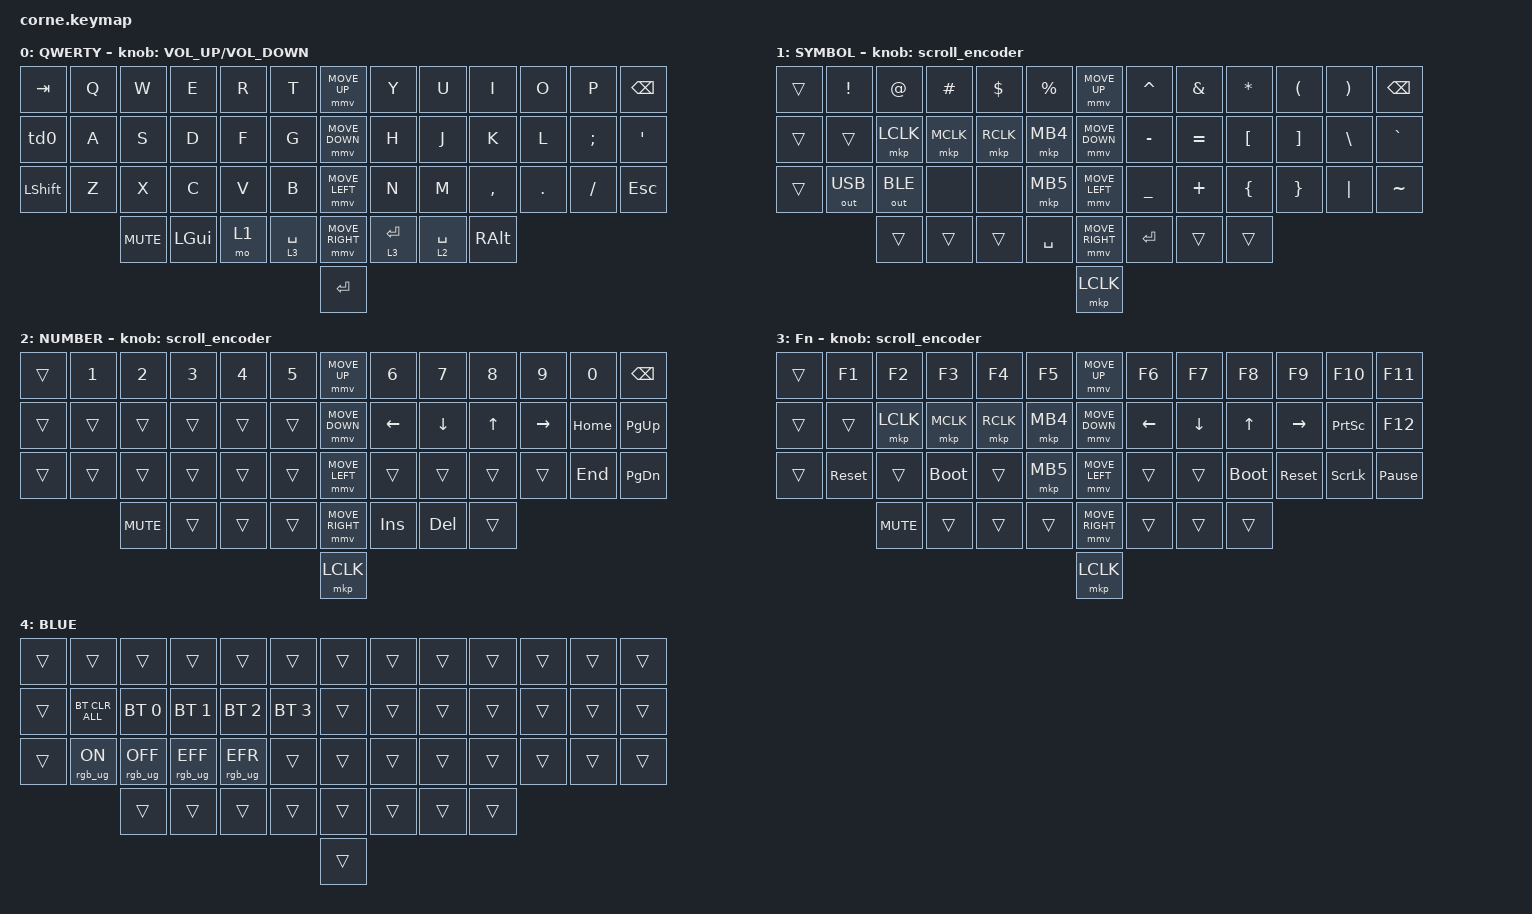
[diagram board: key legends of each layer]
#include <behaviors/mouse_keys.dtsi>
#include <behaviors.dtsi>
#include <dt-bindings/zmk/bt.h>
#include <dt-bindings/zmk/keys.h>
#include <dt-bindings/zmk/mouse.h>
#include <dt-bindings/zmk/outputs.h>
#include <dt-bindings/zmk/rgb.h>

#define ZMK_MOUSE_DEFAULT_MOVE_VAL 1200  // 600
#define ZMK_MOUSE_DEFAULT_SCRL_VAL 20    // 10
#define U_MS_U &mmv MOVE_UP
#define U_MS_D &mmv MOVE_DOWN
#define U_MS_L &mmv MOVE_LEFT
#define U_MS_R &mmv MOVE_RIGHT

/ {
    behaviors {
        td0: td0 {
            compatible = "zmk,behavior-tap-dance";
            label = "TD0";
            #binding-cells = <0>;
            bindings = <&kp LCTRL>, <&kp CAPS>;
        };

        mmv {
            acceleration-exponent = <1>;      // 1
            time-to-max-speed-ms = <900>;    // 40
            delay-ms = <0>;                   // 0
        };

        msc {
            acceleration-exponent = <1>;      // 0
            time-to-max-speed-ms = <400>;      // 500
            delay-ms = <0>;                   // 10
        };
    };

    rgb_encoder: rgb_encoder {
        compatible = "zmk,behavior-sensor-rotate";
        label = "RGB_ENCODER";
        #sensor-binding-cells = <0>;
        bindings = <&rgb_ug RGB_BRI>, <&rgb_ug RGB_BRD>;
    };

    scroll_encoder: scroll_encoder {
        compatible = "zmk,behavior-sensor-rotate";
        #sensor-binding-cells = <0>;
        bindings = <&msc SCRL_DOWN>, <&msc SCRL_UP>;

        tap-ms = <30>;
    };

    combos {
        compatible = "zmk,combos";

        BLUE {
            bindings = <&mo 4>;
            key-positions = <42 44>;
        };
    };

    keymap {
        compatible = "zmk,keymap";

        default_layer {
            display-name = "QWERTY";

            // --------------------------------------------------------------------------------
            // |  TAB |  Q  |  W  |  E  |  R  |  T  |                ↑    |  Y  |  U   |  I  |  O  |  P  | BKSP |      &kp UP_ARROW 
            // | SHIFT |  A  |  S  |  D  |  F  |  G  |               ↓    |  H  |  J   |  K  |  L  |  ;  |  '   | 
            // | CTRL |  Z  |  X  |  C  |  V  |  B  |                ←    |  N  |  M   |  ,  |  .  |  /  | ESC  |
            //                    | GUI | LWR | SPC |                →    | ENT | RSE  | ALT |
            //                                                      enter

            bindings = <
&kp TAB         &kp Q  &kp W       &kp E     &kp R  &kp T          &mmv MOVE_UP     &kp Y        &kp U        &kp I      &kp O    &kp P     &kp BSPC
&td0            &kp A  &kp S       &kp D     &kp F  &kp G          &mmv MOVE_DOWN   &kp H        &kp J        &kp K      &kp L    &kp SEMI  &kp SQT
&kp LEFT_SHIFT  &kp Z  &kp X       &kp C     &kp V  &kp B          &mmv MOVE_LEFT   &kp N        &kp M        &kp COMMA  &kp DOT  &kp FSLH  &kp ESC
                       &kp K_MUTE  &kp LGUI  &mo 1  &lt 3 SPACE    &mmv MOVE_RIGHT  &lt 3 ENTER  &lt 2 SPACE  &kp RALT
                                                                   &kp ENTER
            >;

            label = "QWERTY";
            sensor-bindings = <&inc_dec_kp C_VOLUME_UP C_VOLUME_DOWN>;
        };

        lower_layer {
            display-name = "SYMBOL";

            // -----------------------------------------------------------------------------------------
            // |  TAB |  !  |  @  |  #  |  $  |  %  |   |  ^  |  &  |  *  |  (  |  )  | BKSP |
            // | CTRL |     |     |     |     |     |   |  -  |  =  |  [  |  ]  |  \  |  `   |
            // | SHFT |     |     |     |     |     |   |  _  |  +  |  {  |  }  | "|" |  ~   |
            //                    | GUI |     | SPC |   | ENT |     | ALT |

            bindings = <
&trans  &kp EXCL      &kp AT        &kp HASH   &kp DLLR   &kp PRCNT    &mmv MOVE_UP     &kp CARET  &kp AMPS   &kp ASTRK  &kp LPAR  &kp RPAR  &kp BSPC
&trans  &trans        &mkp LCLK     &mkp MCLK  &mkp RCLK  &mkp MB4     &mmv MOVE_DOWN   &kp MINUS  &kp EQUAL  &kp LBKT   &kp RBKT  &kp BSLH  &kp GRAVE
&trans  &out OUT_USB  &out OUT_BLE  &none      &none      &mkp MB5     &mmv MOVE_LEFT   &kp UNDER  &kp PLUS   &kp LBRC   &kp RBRC  &kp PIPE  &kp TILDE
                      &trans        &trans     &trans     &kp SPACE    &mmv MOVE_RIGHT  &kp RET    &trans     &trans
                                                                       &mkp LCLK
            >;

            label = "SYMBOL";
            sensor-bindings = <&scroll_encoder>;
        };

        raise_layer {
            display-name = "NUMBER";

            // -----------------------------------------------------------------------------------------
            // |  TAB |  1  |  2  |  3  |  4  |  5  |   |  6  |  7  |  8  |  9  |  0  | BKSP |
            // | BTCLR| BT1 | BT2 | BT3 | BT4 | BT5 |   | LFT | DWN |  UP | RGT |     |      |
            // | SHFT |     |     |     |     |     |   |     |     |     |     |     |      |
            //                    | GUI |     | SPC |   | ENT |     | ALT |

            bindings = <
&trans  &kp N1  &kp N2      &kp N3  &kp N4  &kp N5    &mmv MOVE_UP     &kp N6    &kp N7    &kp N8  &kp N9     &kp N0    &kp BSPC
&trans  &trans  &trans      &trans  &trans  &trans    &mmv MOVE_DOWN   &kp LEFT  &kp DOWN  &kp UP  &kp RIGHT  &kp HOME  &kp PG_UP
&trans  &trans  &trans      &trans  &trans  &trans    &mmv MOVE_LEFT   &trans    &trans    &trans  &trans     &kp END   &kp PG_DN
                &kp C_MUTE  &trans  &trans  &trans    &mmv MOVE_RIGHT  &kp INS   &kp DEL   &trans
                                                      &mkp LCLK
            >;

            label = "NUMBER";
            sensor-bindings = <&scroll_encoder>;
        };

        layer_3 {
            display-name = "Fn";
            bindings = <
&trans  &kp F1      &kp F2      &kp F3       &kp F4     &kp F5      &mmv MOVE_UP     &kp F6    &kp F7    &kp F8       &kp F9      &kp F10          &kp F11
&trans  &trans      &mkp LCLK   &mkp MCLK    &mkp RCLK  &mkp MB4    &mmv MOVE_DOWN   &kp LEFT  &kp DOWN  &kp UP       &kp RIGHT   &kp PRINTSCREEN  &kp F12
&trans  &sys_reset  &trans      &bootloader  &trans     &mkp MB5    &mmv MOVE_LEFT   &trans    &trans    &bootloader  &sys_reset  &kp SCROLLLOCK   &kp PAUSE_BREAK
                    &kp C_MUTE  &trans       &trans     &trans      &mmv MOVE_RIGHT  &trans    &trans    &trans
                                                                    &mkp LCLK
            >;

            label = "FN";
            sensor-bindings = <&scroll_encoder>;
        };

        blue_layer {
            bindings = <
&trans  &trans          &trans           &trans           &trans           &trans          &trans  &trans  &trans  &trans  &trans  &trans  &trans
&trans  &bt BT_CLR_ALL  &bt BT_SEL 0     &bt BT_SEL 1     &bt BT_SEL 2     &bt BT_SEL 3    &trans  &trans  &trans  &trans  &trans  &trans  &trans
&trans  &rgb_ug RGB_ON  &rgb_ug RGB_OFF  &rgb_ug RGB_EFF  &rgb_ug RGB_EFR  &trans          &trans  &trans  &trans  &trans  &trans  &trans  &trans
                        &trans           &trans           &trans           &trans          &trans  &trans  &trans  &trans
                                                                                           &trans
            >;

            label = "BLUE";
        };
    };
};
